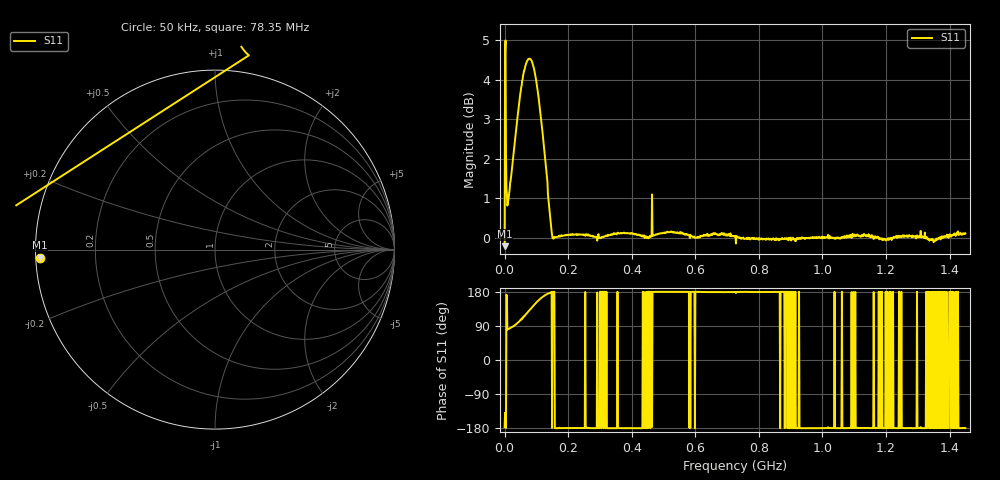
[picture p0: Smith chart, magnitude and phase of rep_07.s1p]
! Created with skrf 1.11.0 (http://scikit-rf.org).
# Hz S RI R 50.0
!freq ReS11 ImS11
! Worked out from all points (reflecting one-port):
!   1001 points, 50 kHz to 1.45 GHz, reference 50 ohm
!   lowest |S11| = -0.2 dB at 50 kHz (marker M1), VSWR 84.03, Z = 0.595 - j1.14 ohm
!   phase of S11 starts at -177 deg and turns -2 deg over the sweep
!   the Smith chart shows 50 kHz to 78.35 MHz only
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50000  -0.9755 -0.0447
8749700  0.1891 1.082
1.019965e7  0.1779 1.092
1.16496e7  0.167 1.104
1.599945e7  0.1364 1.144
2.61491e7  0.0386 1.253
3.629875e7  -0.1073 1.365
4.64484e7  -0.3096 1.454
5.51481e7  -0.5513 1.48
6.38478e7  -0.757 1.455
7.399745e7  -1.02 1.337
8.7047e7  -1.276 1.07
9.86466e7  -1.385 0.7762
1.073463e8  -1.391 0.5622
1.17496e8  -1.337 0.3517
1.261956e8  -1.259 0.2125
1.363453e8  -1.132 0.0995
1.43595e8  -1.06 0.0408
1.522948e8  -1 0.000817
1.812938e8  -1.006 -0.00539
3.625375e8  -1.013 -0.00184
5.437812e8  -1.015 0.00596
7.25025e8  -1.005 0.00839
9.062688e8  -0.9967 0.0019
1.087512e9  -1.003 -0.00458
1.268756e9  -1.003 -0.00186
1.349953e9  -0.9878 0.00112
1.45e9  -1.013 -0.00328
